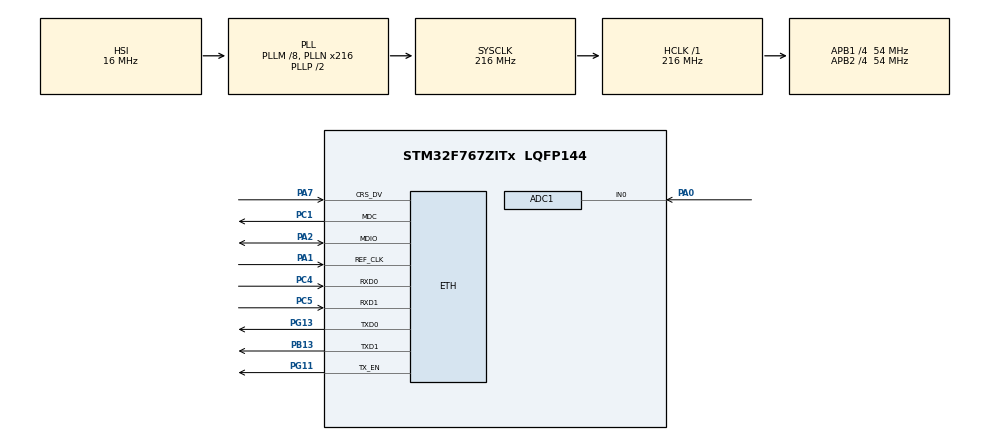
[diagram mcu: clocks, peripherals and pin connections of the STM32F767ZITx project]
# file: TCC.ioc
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ADC1.Channel-0\#ChannelRegularConversion=ADC_CHANNEL_0
ADC1.DMAContinuousRequests=ENABLE
ADC1.ExternalTrigConv=ADC_EXTERNALTRIGCONV_T2_TRGO
ADC1.NbrOfConversion=1
ADC1.NbrOfConversionFlag=1
ADC1.Rank-0\#ChannelRegularConversion=1
ADC1.SamplingTime-0\#ChannelRegularConversion=ADC_SAMPLETIME_15CYCLES
ADC1.ScanConvMode=ADC_SCAN_ENABLE
ADC1.master=1
CORTEX_M7.default_mode_Activation=1
Dma.ADC1.0.Direction=DMA_PERIPH_TO_MEMORY
Dma.ADC1.0.FIFOMode=DMA_FIFOMODE_DISABLE
Dma.ADC1.0.Instance=DMA2_Stream0
Dma.ADC1.0.MemDataAlignment=DMA_MDATAALIGN_HALFWORD
Dma.ADC1.0.MemInc=DMA_MINC_ENABLE
Dma.ADC1.0.Mode=DMA_CIRCULAR
Dma.ADC1.0.PeriphDataAlignment=DMA_PDATAALIGN_HALFWORD
Dma.ADC1.0.PeriphInc=DMA_PINC_DISABLE
Dma.ADC1.0.Priority=DMA_PRIORITY_LOW
Dma.Request0=ADC1
ETH.MediaInterface=HAL_ETH_RMII_MODE
LWIP.BSP.number=1
LWIP.HTTPD_USE_CUSTOM_FSDATA=1
LWIP.LWIP_HTTPD=1
LWIP.LWIP_HTTPD_CGI=1
LWIP.LWIP_HTTPD_MAX_TAG_NAME_LEN=16
LWIP.LWIP_HTTPD_SSI=1
LWIP.Version=v2.1.2_Cube
LWIP0.BSP.STBoard=false
LWIP0.BSP.api=BSP_COMPONENT_DRIVER
LWIP0.BSP.component=LAN8742
LWIP0.BSP.instance=LAN8742
LWIP0.BSP.name=Driver_PHY
LWIP0.BSP.semaphore=S_LAN8742
LWIP0.BSP.solution=LAN8742
Mcu.Family=STM32F7
Mcu.Name=STM32F767ZITx
Mcu.Package=LQFP144
NVIC.ADC_IRQn=true\:0\:0\:false\:false\:true\:true\:true\:true
NVIC.DMA2_Stream0_IRQn=true\:0\:0\:false\:false\:true\:false\:true\:true
NVIC.PriorityGroup=NVIC_PRIORITYGROUP_4
NVIC.TIM2_IRQn=true\:0\:0\:false\:false\:true\:true\:true\:true
PA0/WKUP.Signal=ADCx_IN0
PA1.Mode=RMII
PA1.Signal=ETH_REF_CLK
PA2.Mode=RMII
PA2.Signal=ETH_MDIO
PA7.Mode=RMII
PA7.Signal=ETH_CRS_DV
PB13.Mode=RMII
PB13.Signal=ETH_TXD1
PC1.Mode=RMII
PC1.Signal=ETH_MDC
PC4.Mode=RMII
PC4.Signal=ETH_RXD0
PC5.Mode=RMII
PC5.Signal=ETH_RXD1
PG11.Mode=RMII
PG11.Signal=ETH_TX_EN
PG13.Mode=RMII
PG13.Signal=ETH_TXD0
PH0/OSC_IN.Mode=HSE-External-Oscillator
PH0/OSC_IN.Signal=RCC_OSC_IN
PH1/OSC_OUT.Mode=HSE-External-Oscillator
PH1/OSC_OUT.Signal=RCC_OSC_OUT
ProjectManager.HeapSize=0x200
ProjectManager.StackSize=0x400
ProjectManager.TargetToolchain=STM32CubeIDE
RCC.AHBFreq_Value=216000000
RCC.APB1CLKDivider=RCC_HCLK_DIV4
RCC.APB1Freq_Value=54000000
RCC.APB1TimFreq_Value=108000000
RCC.APB2CLKDivider=RCC_HCLK_DIV4
RCC.APB2Freq_Value=54000000
RCC.APB2TimFreq_Value=108000000
RCC.CortexFreq_Value=216000000
RCC.HCLKFreq_Value=216000000
RCC.HSE_VALUE=8000000
RCC.HSI_VALUE=16000000
RCC.LSE_VALUE=32768
RCC.PLLM=8
RCC.PLLN=216
RCC.SYSCLKFreq_VALUE=216000000
RCC.SYSCLKSource=RCC_SYSCLKSOURCE_PLLCLK
RCC.USBFreq_Value=216000000
RCC.VCOOutputFreq_Value=432000000
RTC.Date=30
RTC.Hours=22
RTC.WeekDay=RTC_WEEKDAY_FRIDAY
RTC.Year=26
SH.ADCx_IN0.0=ADC1_IN0,IN0
TIM2.Period=10800-1
TIM2.TIM_MasterOutputTrigger=TIM_TRGO_UPDATE
VP_LWIP_VS_Enabled.Mode=Enabled
VP_RTC_VS_RTC_Activate.Mode=RTC_Enabled
VP_RTC_VS_RTC_Calendar.Mode=RTC_Calendar
VP_TIM2_VS_ClockSourceINT.Mode=Internal
board=custom

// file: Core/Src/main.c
/* USER CODE BEGIN Header */
/**
 ******************************************************************************
 * @file           : main.c
 * @brief          : Main program body
 ******************************************************************************
 * @attention
 *
 * Copyright (c) 2026 STMicroelectronics.
 * All rights reserved.
 *
 * This software is licensed under terms that can be found in the LICENSE file
 * in the root directory of this software component.
 * If no LICENSE file comes with this software, it is provided AS-IS.
 *
 ******************************************************************************
 */
/* USER CODE END Header */
#include "main.h"
#include "lwip.h"

/* USER CODE BEGIN Includes */
#include <string.h>
#include <stdio.h>
#include <stdbool.h>
#include <math.h>
#include "lwip/apps/httpd.h"

/* USER CODE END Includes */

/* USER CODE BEGIN PTD */
RTC_TimeTypeDef sTime;
RTC_DateTypeDef sDate;
/* USER CODE END PTD */

/* USER CODE BEGIN PD */

#define TOTAL_ADC 1
#define MAX_ADC 4095.0f
#define VREF 3.3f

/* USER CODE END PD */

ADC_HandleTypeDef hadc1;
DMA_HandleTypeDef hdma_adc1;

RTC_HandleTypeDef hrtc;

TIM_HandleTypeDef htim2;

/* USER CODE BEGIN PV */

static volatile uint16_t adc_raw[TOTAL_ADC] = { 0 };
volatile float adc_in_voltage = 0.0f;
volatile uint16_t adc_debug = 0;

bool afundamento = false;
uint32_t inicio;
int indexServer = 0;

char hora[12];
char data[12];

typedef struct {
	char data_e_hora[30];
	char duracao[10];
} LogEntry;

// Estrutura do valores presentes no Front.
LogEntry historico[10] = { { "-", "-" }, { "-", "-" }, { "-", "-" },
		{ "-", "-" }, { "-", "-" }, { "-", "-" }, { "-", "-" }, { "-", "-" }, {
				"-", "-" }, { "-", "-" } };

// Variaveis do Arquivo HTML
char const *ppcTags[] = { "dt0", "oc0", "dt1", "oc1", "dt2", "oc2", "dt3",
		"oc3", "dt4", "oc4", "dt5", "oc5", "dt6", "oc6", "dt7", "oc7", "dt8",
		"oc8", "dt9", "oc9" };

/* USER CODE END PV */

void SystemClock_Config(void);
static void MPU_Config(void);
static void MX_GPIO_Init(void);
static void MX_DMA_Init(void);
static void MX_TIM2_Init(void);
static void MX_ADC1_Init(void);
static void MX_RTC_Init(void);

/* USER CODE BEGIN 0 */

//Converte Tempo em segundos
uint32_t rtc_to_seconds(RTC_TimeTypeDef *t, RTC_DateTypeDef *d) {
	return t->Hours * 3600 + t->Minutes * 60 + t->Seconds;
}

// Interrupção do ADC
#define N 167

float period[N] = { 0 };

float v_ef_media = 0.0f;   // RMS por bloco fechado
float v_ef_movel = 0.0f;   // RMS janela deslizante

float soma_bloco = 0.0f;
float soma_movel = 0.0f;

volatile int i = 0;
volatile int amostras_bloco = 0;

void HAL_ADC_ConvCpltCallback(ADC_HandleTypeDef *hadc) {
	if (hadc->Instance == ADC1) {
		adc_debug = adc_raw[0];

		adc_in_voltage = ((adc_debug * VREF) / (MAX_ADC)) - 1.5f;

		float novo_quadrado = adc_in_voltage * adc_in_voltage;
		float antigo_quadrado = period[i] * period[i];

		// ==============================
		// 🔵 RMS DESLIZANTE (contínuo)
		// ==============================

		soma_movel -= antigo_quadrado;   // remove valor antigo
		soma_movel += novo_quadrado;     // adiciona novo
		v_ef_movel = sqrtf(soma_movel / (float) N);

		// Atualiza buffer circular
		period[i] = adc_in_voltage;

		// ==============================
		// 🟢 RMS POR BLOCO FECHADO
		// ==============================

		soma_bloco += novo_quadrado;
		amostras_bloco++;

		if (amostras_bloco >= N) {
			v_ef_media = sqrtf(soma_bloco / (float) N);
			soma_bloco = 0.0f;
			amostras_bloco = 0;
		}

		// Avança índice circular
		i++;
		if (i >= N) {
			i = 0;
		}

		// Sistema de Colocar Data e Hora no Sistema quando Ocorre Interrupção
		if ((v_ef_media < 0.956f) || (v_ef_movel < 0.956f)) {
			uint32_t agora = rtc_to_seconds(&sTime, &sDate);
			if (!afundamento) {
				snprintf(historico[indexServer].data_e_hora,
						sizeof(historico[indexServer].data_e_hora), "%s - %s",
						data, hora);
				inicio = agora;
				afundamento = true;
			}

			snprintf(historico[indexServer].duracao,
					sizeof(historico[indexServer].duracao), "%lu s",
					agora - inicio);

		} else if (afundamento) {
			afundamento = false;
			indexServer++;
			if (indexServer >= 10) {
				indexServer = 0;
			}
		}
		/* ------------------------------------------------------- */
	}
}

// Interrupção do HTML
u16_t SSI_Handler(int iIndex, char *pcInsert, int iInsertLen) {
	int linha = iIndex / 2;
	int coluna = iIndex % 2;

	if (linha >= 10)
		return 0;

	if (coluna == 0) {
		snprintf(pcInsert, iInsertLen, "%s", historico[linha].data_e_hora);
	} else {
		snprintf(pcInsert, iInsertLen, "%s", historico[linha].duracao);
	}
	return strlen(pcInsert);
}

/* USER CODE END 0 */

int main(void) {

	/* MPU Configuration--------------------------------------------------------*/
	MPU_Config();

	/* MCU Configuration--------------------------------------------------------*/

	/* Reset of all peripherals, Initializes the Flash interface and the Systick. */
	HAL_Init();

	/* Configure the system clock */
	SystemClock_Config();

	/* Initialize all configured peripherals */
	MX_GPIO_Init();
	MX_DMA_Init();
	MX_TIM2_Init();
	MX_ADC1_Init();
	MX_LWIP_Init();
	MX_RTC_Init();
	/* USER CODE BEGIN 2 */

	HAL_ADC_Start_DMA(&hadc1, (uint32_t*) adc_raw, TOTAL_ADC);

	HAL_TIM_Base_Start_IT(&htim2);

	httpd_init();
	http_set_ssi_handler(SSI_Handler, ppcTags, 20);

	memset(hora, 0, sizeof(hora));
	memset(data, 0, sizeof(data));

	/* USER CODE END 2 */

	/* Infinite loop */
	/* USER CODE BEGIN WHILE */
	while (1) {
		MX_LWIP_Process();

		HAL_RTC_GetTime(&hrtc, &sTime, RTC_FORMAT_BIN);
		HAL_RTC_GetDate(&hrtc, &sDate, RTC_FORMAT_BIN);

		snprintf(data, sizeof(data), "%02d/%02d/%02d", sDate.Date, sDate.Month,
				sDate.Year);
		snprintf(hora, sizeof(hora), "%02d:%02d:%02d", sTime.Hours,
				sTime.Minutes, sTime.Seconds);

		/* USER CODE END WHILE */

	}
}

void SystemClock_Config(void) {
	RCC_OscInitTypeDef RCC_OscInitStruct = { 0 };
	RCC_ClkInitTypeDef RCC_ClkInitStruct = { 0 };

	/** Configure the main internal regulator output voltage
	 */
	__HAL_RCC_PWR_CLK_ENABLE();
	__HAL_PWR_VOLTAGESCALING_CONFIG(PWR_REGULATOR_VOLTAGE_SCALE1);

	/** Initializes the RCC Oscillators according to the specified parameters
	 * in the RCC_OscInitTypeDef structure.
	 */
	RCC_OscInitStruct.OscillatorType = RCC_OSCILLATORTYPE_HSI
			| RCC_OSCILLATORTYPE_LSI;
	RCC_OscInitStruct.HSIState = RCC_HSI_ON;
	RCC_OscInitStruct.HSICalibrationValue = RCC_HSICALIBRATION_DEFAULT;
	RCC_OscInitStruct.LSIState = RCC_LSI_ON;
	RCC_OscInitStruct.PLL.PLLState = RCC_PLL_ON;
	RCC_OscInitStruct.PLL.PLLSource = RCC_PLLSOURCE_HSI;
	RCC_OscInitStruct.PLL.PLLM = 8;
	RCC_OscInitStruct.PLL.PLLN = 216;
	RCC_OscInitStruct.PLL.PLLP = RCC_PLLP_DIV2;
	RCC_OscInitStruct.PLL.PLLQ = 2;
	RCC_OscInitStruct.PLL.PLLR = 2;
	if (HAL_RCC_OscConfig(&RCC_OscInitStruct) != HAL_OK) {
		Error_Handler();
	}

	/** Activate the Over-Drive mode
	 */
	if (HAL_PWREx_EnableOverDrive() != HAL_OK) {
		Error_Handler();
	}

	/** Initializes the CPU, AHB and APB buses clocks
	 */
	RCC_ClkInitStruct.ClockType = RCC_CLOCKTYPE_HCLK | RCC_CLOCKTYPE_SYSCLK
			| RCC_CLOCKTYPE_PCLK1 | RCC_CLOCKTYPE_PCLK2;
	RCC_ClkInitStruct.SYSCLKSource = RCC_SYSCLKSOURCE_PLLCLK;
	RCC_ClkInitStruct.AHBCLKDivider = RCC_SYSCLK_DIV1;
	RCC_ClkInitStruct.APB1CLKDivider = RCC_HCLK_DIV4;
	RCC_ClkInitStruct.APB2CLKDivider = RCC_HCLK_DIV4;

	if (HAL_RCC_ClockConfig(&RCC_ClkInitStruct, FLASH_LATENCY_7) != HAL_OK) {
		Error_Handler();
	}
}

static void MX_ADC1_Init(void) {

	ADC_ChannelConfTypeDef sConfig = { 0 };

	/** Configure the global features of the ADC (Clock, Resolution, Data Alignment and number of conversion)
	 */
	hadc1.Instance = ADC1;
	hadc1.Init.ClockPrescaler = ADC_CLOCK_SYNC_PCLK_DIV2;
	hadc1.Init.Resolution = ADC_RESOLUTION_12B;
	hadc1.Init.ScanConvMode = ADC_SCAN_ENABLE;
	hadc1.Init.ContinuousConvMode = DISABLE;
	hadc1.Init.DiscontinuousConvMode = DISABLE;
	hadc1.Init.ExternalTrigConvEdge = ADC_EXTERNALTRIGCONVEDGE_RISING;
	hadc1.Init.ExternalTrigConv = ADC_EXTERNALTRIGCONV_T2_TRGO;
	hadc1.Init.DataAlign = ADC_DATAALIGN_RIGHT;
	hadc1.Init.NbrOfConversion = 1;
	hadc1.Init.DMAContinuousRequests = ENABLE;
	hadc1.Init.EOCSelection = ADC_EOC_SINGLE_CONV;
	if (HAL_ADC_Init(&hadc1) != HAL_OK) {
		Error_Handler();
	}

	/** Configure for the selected ADC regular channel its corresponding rank in the sequencer and its sample time.
	 */
	sConfig.Channel = ADC_CHANNEL_0;
	sConfig.Rank = ADC_REGULAR_RANK_1;
	sConfig.SamplingTime = ADC_SAMPLETIME_15CYCLES;
	if (HAL_ADC_ConfigChannel(&hadc1, &sConfig) != HAL_OK) {
		Error_Handler();
	}

}

static void MX_RTC_Init(void) {

	RTC_TimeTypeDef sTime = { 0 };
	RTC_DateTypeDef sDate = { 0 };

	/** Initialize RTC Only
	 */
	hrtc.Instance = RTC;
	hrtc.Init.HourFormat = RTC_HOURFORMAT_24;
	hrtc.Init.AsynchPrediv = 127;
	hrtc.Init.SynchPrediv = 255;
	hrtc.Init.OutPut = RTC_OUTPUT_DISABLE;
	hrtc.Init.OutPutPolarity = RTC_OUTPUT_POLARITY_HIGH;
	hrtc.Init.OutPutType = RTC_OUTPUT_TYPE_OPENDRAIN;
	if (HAL_RTC_Init(&hrtc) != HAL_OK) {
		Error_Handler();
	}

	/** Initialize RTC and set the Time and Date
	 */
	sTime.Hours = 0x22;
	sTime.Minutes = 0x0;
	sTime.Seconds = 0x0;
	sTime.DayLightSaving = RTC_DAYLIGHTSAVING_NONE;
	sTime.StoreOperation = RTC_STOREOPERATION_RESET;
	if (HAL_RTC_SetTime(&hrtc, &sTime, RTC_FORMAT_BCD) != HAL_OK) {
		Error_Handler();
	}
	sDate.WeekDay = RTC_WEEKDAY_FRIDAY;
	sDate.Month = RTC_MONTH_JANUARY;
	sDate.Date = 0x30;
	sDate.Year = 0x26;

	if (HAL_RTC_SetDate(&hrtc, &sDate, RTC_FORMAT_BCD) != HAL_OK) {
		Error_Handler();
	}

}

static void MX_TIM2_Init(void) {

	TIM_ClockConfigTypeDef sClockSourceConfig = { 0 };
	TIM_MasterConfigTypeDef sMasterConfig = { 0 };

	htim2.Instance = TIM2;
	htim2.Init.Prescaler = 0;
	htim2.Init.CounterMode = TIM_COUNTERMODE_UP;
	htim2.Init.Period = 10800 - 1;
	htim2.Init.ClockDivision = TIM_CLOCKDIVISION_DIV1;
	htim2.Init.AutoReloadPreload = TIM_AUTORELOAD_PRELOAD_DISABLE;
	if (HAL_TIM_Base_Init(&htim2) != HAL_OK) {
		Error_Handler();
	}
	sClockSourceConfig.ClockSource = TIM_CLOCKSOURCE_INTERNAL;
	if (HAL_TIM_ConfigClockSource(&htim2, &sClockSourceConfig) != HAL_OK) {
		Error_Handler();
	}
	sMasterConfig.MasterOutputTrigger = TIM_TRGO_UPDATE;
	sMasterConfig.MasterSlaveMode = TIM_MASTERSLAVEMODE_DISABLE;
	if (HAL_TIMEx_MasterConfigSynchronization(&htim2, &sMasterConfig)
			!= HAL_OK) {
		Error_Handler();
	}

}

static void MX_DMA_Init(void) {

	/* DMA controller clock enable */
	__HAL_RCC_DMA2_CLK_ENABLE();

	/* DMA interrupt init */
	/* DMA2_Stream0_IRQn interrupt configuration */
	HAL_NVIC_SetPriority(DMA2_Stream0_IRQn, 0, 0);
	HAL_NVIC_EnableIRQ(DMA2_Stream0_IRQn);

}

static void MX_GPIO_Init(void) {

	/* GPIO Ports Clock Enable */
	__HAL_RCC_GPIOH_CLK_ENABLE();
	__HAL_RCC_GPIOC_CLK_ENABLE();
	__HAL_RCC_GPIOA_CLK_ENABLE();
	__HAL_RCC_GPIOB_CLK_ENABLE();
	__HAL_RCC_GPIOG_CLK_ENABLE();

}

/* MPU Configuration */

void MPU_Config(void) {
	MPU_Region_InitTypeDef MPU_InitStruct = { 0 };

	/* Disables the MPU */
	HAL_MPU_Disable();

	/** Initializes and configures the Region and the memory to be protected
	 */
	MPU_InitStruct.Enable = MPU_REGION_ENABLE;
	MPU_InitStruct.Number = MPU_REGION_NUMBER0;
	MPU_InitStruct.BaseAddress = 0x0;
	MPU_InitStruct.Size = MPU_REGION_SIZE_4GB;
	MPU_InitStruct.SubRegionDisable = 0x87;
	MPU_InitStruct.TypeExtField = MPU_TEX_LEVEL0;
	MPU_InitStruct.AccessPermission = MPU_REGION_NO_ACCESS;
	MPU_InitStruct.DisableExec = MPU_INSTRUCTION_ACCESS_DISABLE;
	MPU_InitStruct.IsShareable = MPU_ACCESS_SHAREABLE;
	MPU_InitStruct.IsCacheable = MPU_ACCESS_NOT_CACHEABLE;
	MPU_InitStruct.IsBufferable = MPU_ACCESS_NOT_BUFFERABLE;

	HAL_MPU_ConfigRegion(&MPU_InitStruct);
	/* Enables the MPU */
	HAL_MPU_Enable(MPU_PRIVILEGED_DEFAULT);

}

void Error_Handler(void) {
	__disable_irq();
	while (1) {
	}
}
